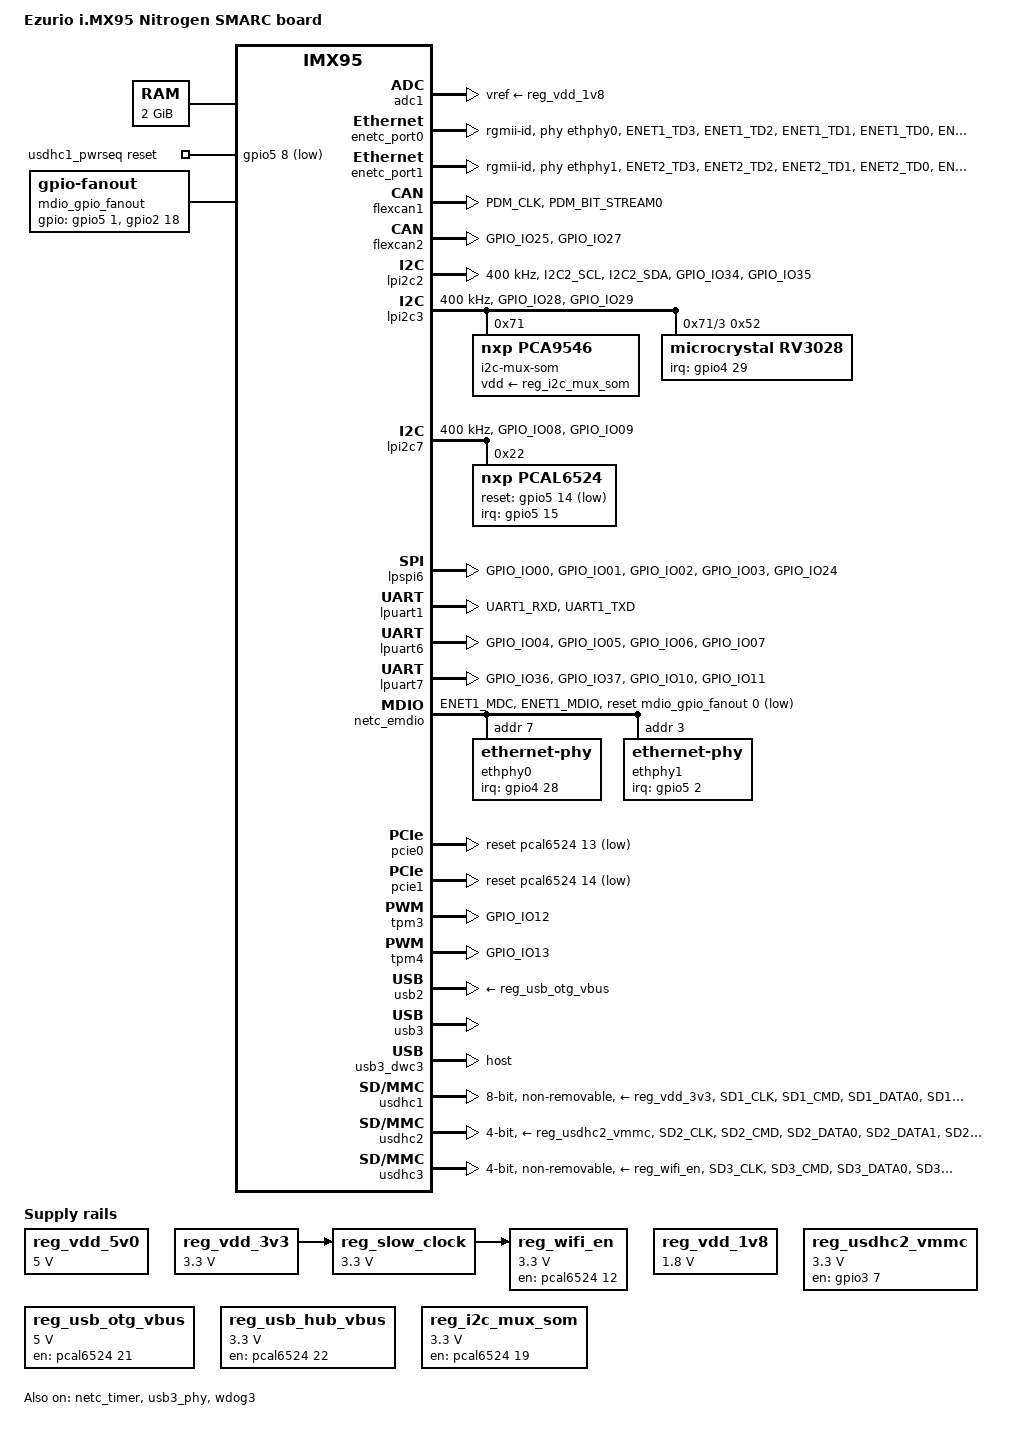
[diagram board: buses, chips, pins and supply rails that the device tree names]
// SPDX-License-Identifier: (GPL-2.0+ OR MIT)
/*
 * Copyright 2024 Ezurio LLC
 */

#include <dt-bindings/net/ti-dp83867.h>
#include <dt-bindings/usb/pd.h>

#include "imx95.dtsi"

/ {
	model = "Ezurio i.MX95 Nitrogen SMARC board";
	compatible = "summit,imx95-nitrogen-smarc", "fsl,imx95";

	aliases {
		can0 = &flexcan1;
		can1 = &flexcan2;
		ethernet0 = &enetc_port0;
		ethernet1 = &enetc_port1;
		rtc0 = &rv3028;
		rtc1 = &scmi_bbm;
		gpio5 = &pcal6524;
		spi0 = &lpspi6;
	};

	chosen {
		stdout-path = "serial0:115200n8";
	};

	memory@80000000 {
		device_type = "memory";
		reg = <0x0 0x80000000 0 0x80000000>;
	};

	reserved-memory {
		#address-cells = <2>;
		#size-cells = <2>;
		ranges;

		linux_cma: linux,cma {
			compatible = "shared-dma-pool";
			reusable;
			alloc-ranges = <0 0x80000000 0 0x7F000000>;
			size = <0 0x3c000000>;
			linux,cma-default;
		};

		vpu_boot: vpu_boot@a0000000 {
			reg = <0 0xa0000000 0 0x100000>;
			no-map;
		};

		mali_protected: mali_protected {
			reg = <0 0xa0100000 0 0x1000000>;
			no-map;
		};
	};

	mali_pma: protected-memory-allocator {
		 compatible = "arm,protected-memory-allocator";
		 memory-region = <&mali_protected>;
	};

	reset_ctrl {
		compatible = "nxp,imx95-resetctrl";
	};

	reg_vdd_5v0: regulator-vdd-5v0 {
		compatible = "regulator-fixed";
		regulator-name = "reg_vdd_5v0";
		regulator-min-microvolt = <5000000>;
		regulator-max-microvolt = <5000000>;
		regulator-boot-on;
		regulator-always-on;
	};

	reg_vdd_3v3: regulator-vdd-3v3 {
		compatible = "regulator-fixed";
		regulator-name = "reg_vdd_3v3";
		regulator-min-microvolt = <3300000>;
		regulator-max-microvolt = <3300000>;
		regulator-boot-on;
		regulator-always-on;
	};

	reg_vdd_1v8: regulator-vdd-1v8 {
		compatible = "regulator-fixed";
		regulator-name = "reg_vdd_1v8";
		regulator-min-microvolt = <1800000>;
		regulator-max-microvolt = <1800000>;
		regulator-boot-on;
		regulator-always-on;
	};

	reg_usdhc2_vmmc: regulator-usdhc2-vmmc {
		compatible = "regulator-fixed";

		regulator-name = "reg_usdhc2_vmmc";
		regulator-min-microvolt = <3300000>;
		regulator-max-microvolt = <3300000>;

		pinctrl-names = "default";
		pinctrl-0 = <&pinctrl_reg_usdhc2_vmmc>;
		gpio = <&gpio3 7 GPIO_ACTIVE_HIGH>;
		enable-active-high;
	};

	reg_wifi_en: regulator-wifi-en {
		compatible = "regulator-fixed";

		regulator-name = "reg_wifi_en";
		regulator-min-microvolt = <3300000>;
		regulator-max-microvolt = <3300000>;

		vin-supply = <&reg_slow_clock>;

		gpio = <&pcal6524 12 GPIO_ACTIVE_HIGH>;
		enable-active-high;
	};

	reg_usb_otg_vbus: regulator-usb-otg-vbus {
		compatible = "regulator-fixed";

		regulator-name = "reg_usb_otg_vbus";
		regulator-min-microvolt = <5000000>;
		regulator-max-microvolt = <5000000>;
		gpio = <&pcal6524 21 GPIO_ACTIVE_HIGH>;
		enable-active-high;
	};

	reg_usb_hub_vbus: regulator-usb-hub-vbus {
		compatible = "regulator-fixed";

		regulator-name = "reg_usb_hub_vbus";
		regulator-min-microvolt = <3300000>;
		regulator-max-microvolt = <3300000>;

		gpio = <&pcal6524 22 GPIO_ACTIVE_HIGH>;
		enable-active-high;
	};

	reg_i2c_mux_som: regulator-i2c-mux-som {
		compatible = "regulator-fixed";

		regulator-name = "reg_i2c_mux_som";
		regulator-min-microvolt = <3300000>;
		regulator-max-microvolt = <3300000>;

		gpio = <&pcal6524 19 GPIO_ACTIVE_HIGH>;
		enable-active-high;
	};

	reg_slow_clock: regulator-slow-clock {
		compatible = "regulator-fixed-clock";

		regulator-name = "reg_slow_clock";
		regulator-min-microvolt = <3300000>;
		regulator-max-microvolt = <3300000>;

		vin-supply = <&reg_vdd_3v3>;
		clocks = <&rv3028>;

		startup-delay-us = <1000>;
	};

	usdhc1_pwrseq: usdhc1-pwrseq {
		pinctrl-names = "default";
		pinctrl-0 = <&pinctrl_reg_usdhc1_vmmc>;

		compatible = "mmc-pwrseq-emmc";
		reset-gpios = <&gpio5 8 GPIO_ACTIVE_LOW>;
	};

	mdio_gpio_fanout: mdio-gpio-fanout {
		compatible = "gpio-fanout";
		gpio-controller;
		#gpio-cells = <2>;

		pinctrl-names = "default";
		pinctrl-0 = <&pinctrl_ethphy0_reset>, <&pinctrl_ethphy1_reset>;
		gpios = <&gpio5 1 GPIO_ACTIVE_HIGH>, <&gpio2 18 GPIO_ACTIVE_HIGH>;
	};
};

&neutron_core {
	status = "disabled";
};

&neutron {
	status = "disabled";
};

&adc1 {
	vref-supply = <&reg_vdd_1v8>;
};

&enetc_port0 {
	pinctrl-names = "default";
	pinctrl-0 = <&pinctrl_enetc0>;

	phy-handle = <&ethphy0>;
	phy-mode = "rgmii-id";

	status = "okay";
};

&enetc_port1 {
	pinctrl-names = "default";
	pinctrl-0 = <&pinctrl_enetc1>;

	phy-handle = <&ethphy1>;
	phy-mode = "rgmii-id";

	status = "okay";
};

&flexcan1 {
	pinctrl-names = "default";
	pinctrl-0 = <&pinctrl_flexcan1>;
};

&flexcan2 {
	pinctrl-names = "default";
	pinctrl-0 = <&pinctrl_flexcan2>;
};

&lpi2c2 {
	pinctrl-names = "default", "sleep";
	pinctrl-0 = <&pinctrl_lpi2c2>;
	pinctrl-1 = <&pinctrl_lpi2c2>;

	clock-frequency = <400000>;

	#address-cells = <1>;
	#size-cells = <0>;
};

&lpi2c3 {
	pinctrl-names = "default", "sleep";
	pinctrl-0 = <&pinctrl_lpi2c3>;
	pinctrl-1 = <&pinctrl_lpi2c3>;

	clock-frequency = <400000>;
	status = "okay";

	#address-cells = <1>;
	#size-cells = <0>;

	i2c-mux-som@71 {
		compatible = "nxp,pca9546";
		reg = <0x71>;

		vdd-supply = <&reg_i2c_mux_som>;

		#address-cells = <1>;
		#size-cells = <0>;

		i2c_csi0: i2c-mux-som@0 {
			reg = <0>;
			#address-cells = <1>;
			#size-cells = <0>;
		};

		i2c_csi1: i2c-mux-som@1 {
			reg = <1>;
			#address-cells = <1>;
			#size-cells = <0>;
		};

		i2c_gp: i2c-mux-som@2 {
			reg = <2>;
			#address-cells = <1>;
			#size-cells = <0>;
		};

		i2c_pmic: i2c-mux-som@3 {
			reg = <3>;
			#address-cells = <1>;
			#size-cells = <0>;

			rv3028: rv3028@52 {
				compatible = "microcrystal,rv3028";
				reg = <0x52>;

				backup-switchover-dsm;
				#clock-cells = <0>;

				pinctrl-names = "default";
				pinctrl-0 = <&pinctrl_rv3028>;
				interrupts-extended = <&gpio4 29 IRQ_TYPE_LEVEL_LOW>;
				wakeup-source;
			};
		};
	};
};

&lpi2c7 {
	pinctrl-names = "default", "sleep";
	pinctrl-0 = <&pinctrl_lpi2c7>;
	pinctrl-1 = <&pinctrl_lpi2c7>;

	clock-frequency = <400000>;

	#address-cells = <1>;
	#size-cells = <0>;

	status = "okay";

	pcal6524: gpio@22 {
		compatible = "nxp,pcal6524";
		reg = <0x22>;

		pinctrl-names = "default";
		pinctrl-0 = <&pinctrl_pcal6524>;

		gpio-controller;
		#gpio-cells = <2>;
		reset-gpios = <&gpio5 14 GPIO_ACTIVE_LOW>;

		interrupt-controller;
		#interrupt-cells = <2>;
		interrupts-extended = <&gpio5 15 IRQ_TYPE_LEVEL_LOW>;

		// Put CLKREQ into low state to disable PCIE clock output
		pcie-clk-req-hog {
			gpio-hog;
			gpios = <16 (GPIO_ACTIVE_HIGH | GPIO_PULL_DOWN)>;
			input;
		};
	};
};

&lpspi6 {
	pinctrl-names = "default", "sleep";
	pinctrl-0 = <&pinctrl_lpspi6>;
	pinctrl-1 = <&pinctrl_lpspi6>;
	cs-gpios = <0>, <0>;
};

&lpuart1 { /* SER1 (console) */
	pinctrl-names = "default";
	pinctrl-0 = <&pinctrl_uart1>;
	status = "okay";
};

&lpuart6 { /* Bluetooth */
	pinctrl-names = "default";
	pinctrl-0 = <&pinctrl_uart6>;
	uart-has-rtscts;
};

&lpuart7 { /* SER0 */
	pinctrl-names = "default";
	pinctrl-0 = <&pinctrl_uart7>;
	uart-has-rtscts;
};

&netc_timer {
	status = "okay";
};

&netc_emdio {
	pinctrl-names = "default";
	pinctrl-0 = <&pinctrl_emdio>;
	status = "okay";

	reset-gpios = <&mdio_gpio_fanout 0 GPIO_ACTIVE_LOW>;
	reset-delay-us = <150>;
	reset-post-delay-us = <300>;

	ethphy0: ethernet-phy@7 {
		reg = <7>;

		pinctrl-names = "default";
		pinctrl-0 = <&pinctrl_ethphy0_irq>;
		interrupts-extended = <&gpio4 28 IRQ_TYPE_LEVEL_LOW>;

		ti,rx-internal-delay = <DP83867_RGMIIDCTL_2_25_NS>;
		ti,tx-internal-delay = <DP83867_RGMIIDCTL_2_00_NS>;
		ti,fifo-depth = <DP83867_PHYCR_FIFO_DEPTH_4_B_NIB>;
		ti,clk-output-sel = <DP83867_CLK_O_SEL_OFF>;
	};

	ethphy1: ethernet-phy@3 {
		reg = <3>;

		pinctrl-names = "default";
		pinctrl-0 = <&pinctrl_ethphy1_irq>;
		interrupts-extended = <&gpio5 2 IRQ_TYPE_LEVEL_LOW>;

		ti,rx-internal-delay = <DP83867_RGMIIDCTL_2_25_NS>;
		ti,tx-internal-delay = <DP83867_RGMIIDCTL_2_00_NS>;
		ti,fifo-depth = <DP83867_PHYCR_FIFO_DEPTH_4_B_NIB>;
		ti,clk-output-sel = <DP83867_CLK_O_SEL_OFF>;
	};
};

&pcie0 {
	reset-gpio = <&pcal6524 13 GPIO_ACTIVE_LOW>;
};

&pcie1 {
	reset-gpio = <&pcal6524 14 GPIO_ACTIVE_LOW>;
};

&thermal_zones {
	pf09 {
		polling-delay-passive = <250>;
		polling-delay = <2000>;
		thermal-sensors = <&scmi_sensor 2>;

		trips {
			pf09_alert: trip0 {
				temperature = <140000>;
				hysteresis = <2000>;
				type = "passive";
			};

			pf09_crit: trip1 {
				temperature = <155000>;
				hysteresis = <2000>;
				type = "critical";
			};
		};
	};

	pf53_arm {
		polling-delay-passive = <250>;
		polling-delay = <2000>;
		thermal-sensors = <&scmi_sensor 4>;

		trips {
			pf5301_alert: trip0 {
				temperature = <140000>;
				hysteresis = <2000>;
				type = "passive";
			};

			pf5301_crit: trip1 {
				temperature = <155000>;
				hysteresis = <2000>;
				type = "critical";
			};
		};

		cooling-maps {
			map0 {
				trip = <&pf5301_alert>;
				cooling-device =
					<&A55_0 THERMAL_NO_LIMIT THERMAL_NO_LIMIT>,
					<&A55_1 THERMAL_NO_LIMIT THERMAL_NO_LIMIT>,
					<&A55_2 THERMAL_NO_LIMIT THERMAL_NO_LIMIT>,
					<&A55_3 THERMAL_NO_LIMIT THERMAL_NO_LIMIT>,
					<&A55_4 THERMAL_NO_LIMIT THERMAL_NO_LIMIT>,
					<&A55_5 THERMAL_NO_LIMIT THERMAL_NO_LIMIT>;
			};
		};
	};

	pf53_soc {
		polling-delay-passive = <250>;
		polling-delay = <2000>;
		thermal-sensors = <&scmi_sensor 3>;

		trips {
			pf5302_alert: trip0 {
				temperature = <140000>;
				hysteresis = <2000>;
				type = "passive";
			};

			pf5302_crit: trip1 {
				temperature = <155000>;
				hysteresis = <2000>;
				type = "critical";
			};
		};
	};
};

&tpm3 {
	pinctrl-names = "default";
	pinctrl-0 = <&pinctrl_tpm3>;
};

&tpm4 {
	pinctrl-names = "default";
	pinctrl-0 = <&pinctrl_tpm4>;
};

&usb2 { /* USB0 */
	vbus-supply = <&reg_usb_otg_vbus>;
	samsung,picophy-pre-emp-curr-control = <3>;
	samsung,picophy-dc-vol-level-adjust = <7>;
};

&usb3 { /* USB1 */
	status = "okay";
};

&usb3_phy {
	status = "okay";
	vbus-supply = <&reg_usb_hub_vbus>;
};

&usb3_dwc3 {
	dr_mode = "host";
	hnp-disable;
	srp-disable;
	adp-disable;
	snps,dis-u1-entry-quirk;
	snps,dis-u2-entry-quirk;
};

&usdhc1 {
	pinctrl-names = "default", "state_100mhz", "state_200mhz";
	pinctrl-0 = <&pinctrl_usdhc1>;
	pinctrl-1 = <&pinctrl_usdhc1_100mhz>;
	pinctrl-2 = <&pinctrl_usdhc1_200mhz>;

	pwrseq = <&usdhc1_pwrseq>;
	vmmc-supply = <&reg_vdd_3v3>;

	bus-width = <8>;
	non-removable;

	status = "okay";
};

&usdhc2 { /* SD card */
	pinctrl-names = "default", "state_100mhz", "state_200mhz";
	pinctrl-0 = <&pinctrl_usdhc2>, <&pinctrl_usdhc2_gpio>;
	pinctrl-1 = <&pinctrl_usdhc2_100mhz>, <&pinctrl_usdhc2_gpio>;
	pinctrl-2 = <&pinctrl_usdhc2_200mhz>, <&pinctrl_usdhc2_gpio>;

	cd-gpios = <&gpio3 00 GPIO_ACTIVE_LOW>;
	fsl,cd-gpio-wakeup-disable;

	vmmc-supply = <&reg_usdhc2_vmmc>;

	bus-width = <4>;
};

&usdhc3 { /* WiFi / Bluetooth */
	pinctrl-names = "default", "state_100mhz", "state_200mhz";
	pinctrl-0 = <&pinctrl_usdhc3>, <&pinctrl_usdhc3_gpio>;
	pinctrl-1 = <&pinctrl_usdhc3_100mhz>, <&pinctrl_usdhc3_gpio>;
	pinctrl-2 = <&pinctrl_usdhc3_200mhz>, <&pinctrl_usdhc3_gpio>;

	vmmc-supply = <&reg_wifi_en>;

	bus-width = <4>;
	non-removable;
	keep-power-in-suspend;
};

&mali {
	protected-memory-allocator = <&mali_pma>;
};

&vpuctrl {
	boot = <&vpu_boot>;
	sram = <&sram1>;
};

&wdog3 {
	status = "okay";
};

&scmi_iomuxc {
	pinctrl_ethphy0_reset: ethphy0-reset {
		fsl,pins = <IMX95_PAD_XSPI1_DATA1__GPIO5_IO_BIT1 0x31e>;
	};

	pinctrl_ethphy1_reset: ethphy1-reset {
		fsl,pins = <IMX95_PAD_GPIO_IO18__GPIO2_IO_BIT18 0x31e>;
	};

	pinctrl_ethphy0_irq: ethphy0-irq {
		fsl,pins = <IMX95_PAD_CCM_CLKO3__GPIO4_IO_BIT28 0x131e>;
	};

	pinctrl_ethphy1_irq: ethphy1-irq {
		fsl,pins = <IMX95_PAD_XSPI1_DATA2__GPIO5_IO_BIT2 0x131e>;
	};

	pinctrl_emdio: emdiogrp {
		fsl,pins = <
			IMX95_PAD_ENET1_MDC__NETCMIX_TOP_NETC_MDC	0x57e
			IMX95_PAD_ENET1_MDIO__NETCMIX_TOP_NETC_MDIO	0x97e
		>;
	};

	pinctrl_enetc0: enetc0grp {
		fsl,pins = <
			IMX95_PAD_ENET1_TD3__NETCMIX_TOP_ETH0_RGMII_TD3		0x57e
			IMX95_PAD_ENET1_TD2__NETCMIX_TOP_ETH0_RGMII_TD2		0x57e
			IMX95_PAD_ENET1_TD1__NETCMIX_TOP_ETH0_RGMII_TD1		0x57e
			IMX95_PAD_ENET1_TD0__NETCMIX_TOP_ETH0_RGMII_TD0		0x57e
			IMX95_PAD_ENET1_TX_CTL__NETCMIX_TOP_ETH0_RGMII_TX_CTL	0x57e
			IMX95_PAD_ENET1_TXC__NETCMIX_TOP_ETH0_RGMII_TX_CLK	0x58e
			IMX95_PAD_ENET1_RX_CTL__NETCMIX_TOP_ETH0_RGMII_RX_CTL	0x57e
			IMX95_PAD_ENET1_RXC__NETCMIX_TOP_ETH0_RGMII_RX_CLK	0x58e
			IMX95_PAD_ENET1_RD0__NETCMIX_TOP_ETH0_RGMII_RD0		0x57e
			IMX95_PAD_ENET1_RD1__NETCMIX_TOP_ETH0_RGMII_RD1		0x57e
			IMX95_PAD_ENET1_RD2__NETCMIX_TOP_ETH0_RGMII_RD2		0x57e
			IMX95_PAD_ENET1_RD3__NETCMIX_TOP_ETH0_RGMII_RD3		0x57e
		>;
	};

	pinctrl_enetc1: enetc1grp {
		fsl,pins = <
			IMX95_PAD_ENET2_TD3__NETCMIX_TOP_ETH1_RGMII_TD3		0x57e
			IMX95_PAD_ENET2_TD2__NETCMIX_TOP_ETH1_RGMII_TD2		0x57e
			IMX95_PAD_ENET2_TD1__NETCMIX_TOP_ETH1_RGMII_TD1		0x57e
			IMX95_PAD_ENET2_TD0__NETCMIX_TOP_ETH1_RGMII_TD0		0x57e
			IMX95_PAD_ENET2_TX_CTL__NETCMIX_TOP_ETH1_RGMII_TX_CTL	0x57e
			IMX95_PAD_ENET2_TXC__NETCMIX_TOP_ETH1_RGMII_TX_CLK	0x58e
			IMX95_PAD_ENET2_RX_CTL__NETCMIX_TOP_ETH1_RGMII_RX_CTL	0x57e
			IMX95_PAD_ENET2_RXC__NETCMIX_TOP_ETH1_RGMII_RX_CLK	0x58e
			IMX95_PAD_ENET2_RD0__NETCMIX_TOP_ETH1_RGMII_RD0		0x57e
			IMX95_PAD_ENET2_RD1__NETCMIX_TOP_ETH1_RGMII_RD1		0x57e
			IMX95_PAD_ENET2_RD2__NETCMIX_TOP_ETH1_RGMII_RD2		0x57e
			IMX95_PAD_ENET2_RD3__NETCMIX_TOP_ETH1_RGMII_RD3		0x57e
		>;
	};

	pinctrl_flexcan1: flexcan1grp {
		fsl,pins = <
			IMX95_PAD_PDM_CLK__AONMIX_TOP_CAN1_TX		0x139e
			IMX95_PAD_PDM_BIT_STREAM0__AONMIX_TOP_CAN1_RX	0x139e
		>;
	};

	pinctrl_flexcan2: flexcan2grp {
		fsl,pins = <
			IMX95_PAD_GPIO_IO25__CAN2_TX			0x139e
			IMX95_PAD_GPIO_IO27__CAN2_RX			0x139e
		>;
	};

	pinctrl_lpi2c2: lpi2c2grp {
		fsl,pins = <
			IMX95_PAD_I2C2_SCL__AONMIX_TOP_LPI2C2_SCL	0x40000b9e
			IMX95_PAD_I2C2_SDA__AONMIX_TOP_LPI2C2_SDA	0x40000b9e
			IMX95_PAD_GPIO_IO34__GPIO5_IO_BIT14		0x31e
			IMX95_PAD_GPIO_IO35__GPIO5_IO_BIT15		0x31e
		>;
	};

	pinctrl_lpi2c3: lpi2c3grp {
		fsl,pins = <
			IMX95_PAD_GPIO_IO28__LPI2C3_SDA			0x40000b9e
			IMX95_PAD_GPIO_IO29__LPI2C3_SCL			0x40000b9e
		>;
	};

	pinctrl_lpi2c7: lpi2c7grp {
		fsl,pins = <
			IMX95_PAD_GPIO_IO08__LPI2C7_SDA			0x40000b9e
			IMX95_PAD_GPIO_IO09__LPI2C7_SCL			0x40000b9e
		>;
	};

	pinctrl_lpspi6: lpspi6grp {
		fsl,pins = <
			IMX95_PAD_GPIO_IO00__LPSPI6_PCS0		0x3fe
			IMX95_PAD_GPIO_IO01__LPSPI6_SIN			0x3fe
			IMX95_PAD_GPIO_IO02__LPSPI6_SOUT		0x3fe
			IMX95_PAD_GPIO_IO03__LPSPI6_SCK			0x3fe
			IMX95_PAD_GPIO_IO24__LPSPI6_PCS1		0x3fe
		>;
	};

	pinctrl_reg_usdhc1_vmmc: regusdhc1vmmcgrp {
		fsl,pins = <
			IMX95_PAD_XSPI1_DQS__GPIO5_IO_BIT8		0x31e
		>;
	};

	pinctrl_reg_usdhc2_vmmc: regusdhc2vmmcgrp {
		fsl,pins = <
			IMX95_PAD_SD2_RESET_B__GPIO3_IO_BIT7		0x31e
		>;
	};

	pinctrl_sai3: sai3grp {
		fsl,pins = <
			IMX95_PAD_GPIO_IO17__SAI3_MCLK			0x31e
			IMX95_PAD_GPIO_IO16__SAI3_TX_BCLK		0x31e
			IMX95_PAD_GPIO_IO26__SAI3_TX_SYNC		0x31e
			IMX95_PAD_GPIO_IO20__SAI3_RX_DATA_BIT0		0x31e
			IMX95_PAD_GPIO_IO21__SAI3_TX_DATA_BIT0		0x31e
		>;
	};

	pinctrl_tpm3: tpm3grp {
		fsl,pins = <
			IMX95_PAD_GPIO_IO12__TPM3_CH2			0x31e
		>;
	};

	pinctrl_tpm4: tpm4grp {
		fsl,pins = <
			IMX95_PAD_GPIO_IO13__TPM4_CH2			0x31e
		>;
	};

	pinctrl_uart1: uart1grp {
		fsl,pins = <
			IMX95_PAD_UART1_RXD__AONMIX_TOP_LPUART1_RX      0x131e
			IMX95_PAD_UART1_TXD__AONMIX_TOP_LPUART1_TX      0x31e
		>;
	};

	pinctrl_uart6: uart6grp {
		fsl,pins = <
			IMX95_PAD_GPIO_IO04__LPUART6_TX			0x31e
			IMX95_PAD_GPIO_IO05__LPUART6_RX			0x131e
			IMX95_PAD_GPIO_IO06__LPUART6_CTS_B		0x131e
			IMX95_PAD_GPIO_IO07__LPUART6_RTS_B		0x131e
		>;
	};

	pinctrl_uart7: uart7grp {
		fsl,pins = <
			IMX95_PAD_GPIO_IO36__LPUART7_TX			0x31e
			IMX95_PAD_GPIO_IO37__LPUART7_RX			0x131e
			IMX95_PAD_GPIO_IO10__LPUART7_CTS_B		0x131e
			IMX95_PAD_GPIO_IO11__LPUART7_RTS_B		0x131e
		>;
	};

	pinctrl_usdhc1: usdhc1grp {
		fsl,pins = <
			IMX95_PAD_SD1_CLK__USDHC1_CLK			0x158e
			IMX95_PAD_SD1_CMD__USDHC1_CMD			0x138e
			IMX95_PAD_SD1_DATA0__USDHC1_DATA0		0x138e
			IMX95_PAD_SD1_DATA1__USDHC1_DATA1		0x138e
			IMX95_PAD_SD1_DATA2__USDHC1_DATA2		0x138e
			IMX95_PAD_SD1_DATA3__USDHC1_DATA3		0x138e
			IMX95_PAD_SD1_DATA4__USDHC1_DATA4		0x138e
			IMX95_PAD_SD1_DATA5__USDHC1_DATA5		0x138e
			IMX95_PAD_SD1_DATA6__USDHC1_DATA6		0x138e
			IMX95_PAD_SD1_DATA7__USDHC1_DATA7		0x138e
			IMX95_PAD_SD1_STROBE__USDHC1_STROBE		0x158e
		>;
	};

	pinctrl_usdhc1_100mhz: usdhc1-100mhzgrp {
		fsl,pins = <
			IMX95_PAD_SD1_CLK__USDHC1_CLK			0x158e
			IMX95_PAD_SD1_CMD__USDHC1_CMD			0x138e
			IMX95_PAD_SD1_DATA0__USDHC1_DATA0		0x138e
			IMX95_PAD_SD1_DATA1__USDHC1_DATA1		0x138e
			IMX95_PAD_SD1_DATA2__USDHC1_DATA2		0x138e
			IMX95_PAD_SD1_DATA3__USDHC1_DATA3		0x138e
			IMX95_PAD_SD1_DATA4__USDHC1_DATA4		0x138e
			IMX95_PAD_SD1_DATA5__USDHC1_DATA5		0x138e
			IMX95_PAD_SD1_DATA6__USDHC1_DATA6		0x138e
			IMX95_PAD_SD1_DATA7__USDHC1_DATA7		0x138e
			IMX95_PAD_SD1_STROBE__USDHC1_STROBE		0x158e
		>;
	};

	pinctrl_usdhc1_200mhz: usdhc1-200mhzgrp {
		fsl,pins = <
			IMX95_PAD_SD1_CLK__USDHC1_CLK			0x15fe
			IMX95_PAD_SD1_CMD__USDHC1_CMD			0x13fe
			IMX95_PAD_SD1_DATA0__USDHC1_DATA0		0x13fe
			IMX95_PAD_SD1_DATA1__USDHC1_DATA1		0x13fe
			IMX95_PAD_SD1_DATA2__USDHC1_DATA2		0x13fe
			IMX95_PAD_SD1_DATA3__USDHC1_DATA3		0x13fe
			IMX95_PAD_SD1_DATA4__USDHC1_DATA4		0x13fe
			IMX95_PAD_SD1_DATA5__USDHC1_DATA5		0x13fe
			IMX95_PAD_SD1_DATA6__USDHC1_DATA6		0x13fe
			IMX95_PAD_SD1_DATA7__USDHC1_DATA7		0x13fe
			IMX95_PAD_SD1_STROBE__USDHC1_STROBE		0x15fe
		>;
	};

	pinctrl_usdhc2_gpio: usdhc2gpiogrp {
		fsl,pins = <
			IMX95_PAD_SD2_CD_B__GPIO3_IO_BIT0		0x31e
		>;
	};

	pinctrl_usdhc2: usdhc2grp {
		fsl,pins = <
			IMX95_PAD_SD2_CLK__USDHC2_CLK			0x158e
			IMX95_PAD_SD2_CMD__USDHC2_CMD			0x138e
			IMX95_PAD_SD2_DATA0__USDHC2_DATA0		0x138e
			IMX95_PAD_SD2_DATA1__USDHC2_DATA1		0x138e
			IMX95_PAD_SD2_DATA2__USDHC2_DATA2		0x138e
			IMX95_PAD_SD2_DATA3__USDHC2_DATA3		0x138e
			IMX95_PAD_SD2_VSELECT__USDHC2_VSELECT		0x51e
		>;
	};

	pinctrl_usdhc2_100mhz: usdhc2-100mhzgrp {
		fsl,pins = <
			IMX95_PAD_SD2_CLK__USDHC2_CLK			0x158e
			IMX95_PAD_SD2_CMD__USDHC2_CMD			0x138e
			IMX95_PAD_SD2_DATA0__USDHC2_DATA0		0x138e
			IMX95_PAD_SD2_DATA1__USDHC2_DATA1		0x138e
			IMX95_PAD_SD2_DATA2__USDHC2_DATA2		0x138e
			IMX95_PAD_SD2_DATA3__USDHC2_DATA3		0x138e
			IMX95_PAD_SD2_VSELECT__USDHC2_VSELECT		0x51e
		>;
	};

	pinctrl_usdhc2_200mhz: usdhc2-200mhzgrp {
		fsl,pins = <
			IMX95_PAD_SD2_CLK__USDHC2_CLK			0x158e
			IMX95_PAD_SD2_CMD__USDHC2_CMD			0x138e
			IMX95_PAD_SD2_DATA0__USDHC2_DATA0		0x138e
			IMX95_PAD_SD2_DATA1__USDHC2_DATA1		0x138e
			IMX95_PAD_SD2_DATA2__USDHC2_DATA2		0x138e
			IMX95_PAD_SD2_DATA3__USDHC2_DATA3		0x138e
			IMX95_PAD_SD2_VSELECT__USDHC2_VSELECT		0x51e
		>;
	};

	pinctrl_usdhc3_gpio: usdhc3gpiogrp {
		fsl,pins = <
			IMX95_PAD_XSPI1_DATA5__GPIO5_IO_BIT5		0x31e
			IMX95_PAD_CCM_CLKO4__CCMSRCGPCMIX_TOP_CLKO_4	0x31e
		>;
	};

	pinctrl_usdhc3: usdhc3grp {
		fsl,pins = <
			IMX95_PAD_SD3_CLK__USDHC3_CLK			0x158e
			IMX95_PAD_SD3_CMD__USDHC3_CMD			0x138e
			IMX95_PAD_SD3_DATA0__USDHC3_DATA0		0x138e
			IMX95_PAD_SD3_DATA1__USDHC3_DATA1		0x138e
			IMX95_PAD_SD3_DATA2__USDHC3_DATA2		0x138e
			IMX95_PAD_SD3_DATA3__USDHC3_DATA3		0x138e
		>;
	};

	pinctrl_usdhc3_100mhz: usdhc3-100mhzgrp {
		fsl,pins = <
			IMX95_PAD_SD3_CLK__USDHC3_CLK			0x158e
			IMX95_PAD_SD3_CMD__USDHC3_CMD			0x138e
			IMX95_PAD_SD3_DATA0__USDHC3_DATA0		0x138e
			IMX95_PAD_SD3_DATA1__USDHC3_DATA1		0x138e
			IMX95_PAD_SD3_DATA2__USDHC3_DATA2		0x138e
			IMX95_PAD_SD3_DATA3__USDHC3_DATA3		0x138e
		>;
	};

	pinctrl_usdhc3_200mhz: usdhc3-200mhzgrp {
		fsl,pins = <
			IMX95_PAD_SD3_CLK__USDHC3_CLK			0x15fe
			IMX95_PAD_SD3_CMD__USDHC3_CMD			0x13fe
			IMX95_PAD_SD3_DATA0__USDHC3_DATA0		0x13fe
			IMX95_PAD_SD3_DATA1__USDHC3_DATA1		0x13fe
			IMX95_PAD_SD3_DATA2__USDHC3_DATA2		0x13fe
			IMX95_PAD_SD3_DATA3__USDHC3_DATA3		0x13fe
		>;
	};

	pinctrl_rv3028: pinctrl-rv3028 {
		fsl,pins = <
			IMX95_PAD_CCM_CLKO4__GPIO4_IO_BIT29   0x131e
		>;
	};

	pinctrl_pcal6524: pinctrl-pcal6524 {
		fsl,pins = <
			IMX95_PAD_GPIO_IO34__GPIO5_IO_BIT14		0x31e
			IMX95_PAD_GPIO_IO35__GPIO5_IO_BIT15		0x131e
		>;
	};
};
